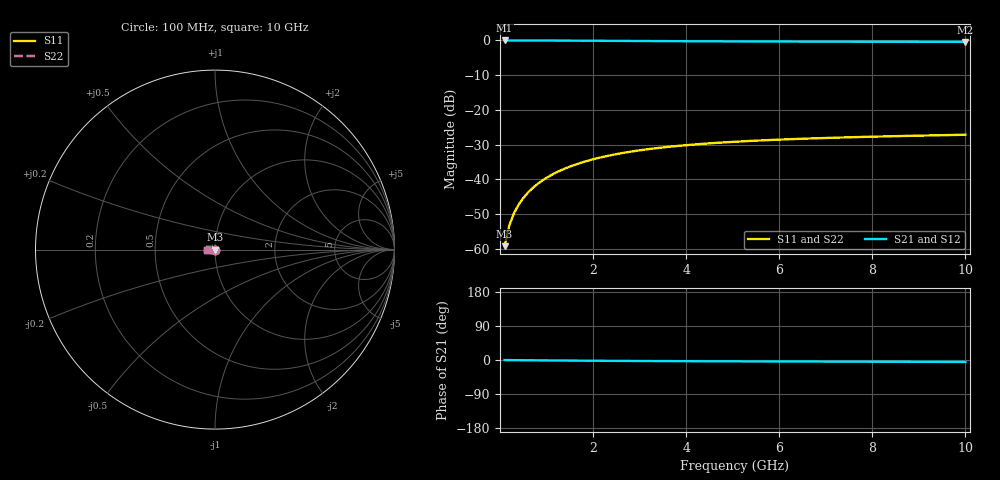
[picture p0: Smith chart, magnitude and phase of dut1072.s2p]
! Touchstone file exported from HFSS 2024.1.0
!  File:  C:/UserFiles/LocalFiles/RDL_TSV_Batchsim/temp_TSV1_1072_1780064578.aedt
!  Generated:  10:28:45 PM May 29, 2026
!  Design:  TSV1
!  Project:  temp_TSV1_1072_1780064578
!  Setup:  Setup1
!  Solution:  Sweep
! Variables:
!  dtsv = 8.53um
!  hbump = 3um
!  htsv = 81.06um
!  lrdl = 252.1521522um
!  p = 40
!  p1 = 42.76um
!  t = 500um
!  trdl = 3um
!  wrdl = 24.89489489um
# GHz S MA R 50.000000
! Terminal data exported
! Port[1] = TSV22_T1
! Port[2] = TSV22_T2
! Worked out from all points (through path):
!   100 points, 100 MHz to 10 GHz, reference 50 ohm
!   highest |S21| = 0.00 dB at 100 MHz (marker M1); lowest = -0.4 dB at 10 GHz (marker M2)
!   lowest |S11| = -59.3 dB at 100 MHz (marker M3), VSWR 1.00, Z = 50 - j0.107 ohm
!   |S11| at or under -10 dB: start of sweep to end of sweep
!   |S22| runs from -59.3 to -27.2 dB; largest |S21 - S12| = 8.4e-15
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0.1  0.001087 -80.9  0.9998 -0.1  0.9998 -0.1  0.001087 -80.9
! Gamma 0 0 0 0
! Port Impedance 50 0 50 0
0.2  0.002154 -87.6  0.9997 -0.2  0.9997 -0.2  0.002154 -87.6
0.3  0.003227 -91.0  0.9995 -0.3  0.9995 -0.3  0.003227 -91.0
0.4  0.004298 -93.5  0.9993 -0.5  0.9993 -0.5  0.004298 -93.5
0.5  0.005361 -95.7  0.999 -0.6  0.999 -0.6  0.005361 -95.7
0.6  0.006414 -97.7  0.9986 -0.7  0.9986 -0.7  0.006414 -97.7
0.7  0.007455 -99.6  0.9982 -0.8  0.9982 -0.8  0.007455 -99.6
0.8  0.008484 -101.4  0.9978 -0.9  0.9978 -0.9  0.008484 -101.4
0.9  0.009498 -103.1  0.9973 -1.0  0.9973 -1.0  0.009498 -103.1
1.1  0.01148 -106.4  0.9962 -1.2  0.9962 -1.2  0.01148 -106.4
1.4  0.0143 -111.2  0.9943 -1.5  0.9943 -1.5  0.0143 -111.2
1.6  0.01609 -114.2  0.9929 -1.7  0.9929 -1.7  0.01609 -114.2
1.8  0.01778 -117.1  0.9914 -1.8  0.9914 -1.8  0.01778 -117.1
2.1  0.02016 -121.2  0.989 -2.1  0.989 -2.1  0.02016 -121.2
2.5  0.02302 -126.4  0.9858 -2.3  0.9858 -2.3  0.02302 -126.4
2.9  0.02554 -131.1  0.9827 -2.6  0.9827 -2.6  0.02554 -131.1
3.4  0.02827 -136.5  0.9789 -2.8  0.9789 -2.8  0.02827 -136.5
4.2  0.03181 -144.1  0.9736 -3.2  0.9736 -3.2  0.03181 -144.1
5.1  0.03487 -151.4  0.9687 -3.6  0.9687 -3.6  0.03487 -151.4
6.7  0.03877 -162.0  0.9621 -4.1  0.9621 -4.1  0.03877 -162.0
8.4  0.04166 -170.9  0.9574 -4.6  0.9574 -4.6  0.04166 -170.9
10  0.04378 -178.0  0.9542 -5.1  0.9542 -5.1  0.04378 -178.0
